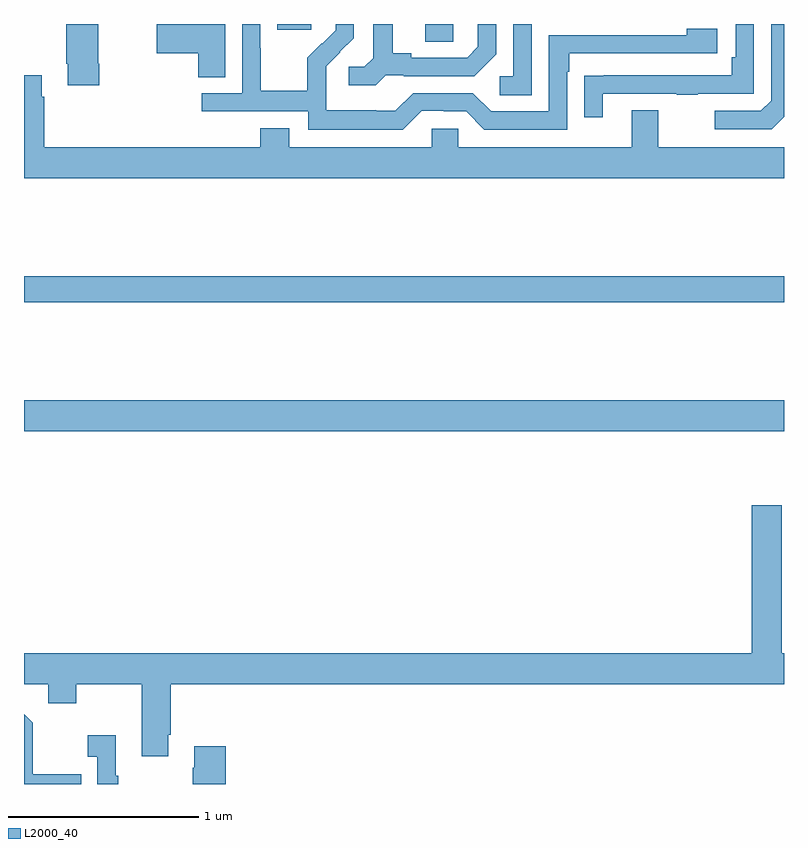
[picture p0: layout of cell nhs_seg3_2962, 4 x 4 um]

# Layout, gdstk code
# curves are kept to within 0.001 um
import gdstk
lib = gdstk.Library(unit=1e-6, precision=1e-09)
def R(c, l, rs):  # rectangles x0, y0, x1, y1
    for r in rs: c.add(gdstk.rectangle(r[:2], r[2:], *l))
def P(c, l, *ps):  # polygons
    for p in ps: c.add(gdstk.Polygon(p, *l))
L2000_40 = (2000, 40)

nhs_seg3_2962 = lib.new_cell('nhs_seg3_2962')
R(nhs_seg3_2962, L2000_40, [(265,694.256,269,694.42), (265,694.936,269,695.072), (267.113,696.307,267.258,696.4), (266.333,696.369,266.512,696.4)])
P(nhs_seg3_2962, L2000_40, [(266.059,696.4),(265.698,696.4),(265.698,696.245),(265.916,696.245),(265.916,696.121),(266.059,696.121)],
  [(269,695.912),(269,696.4),(268.932,696.4),(268.932,695.997),(268.878,695.943),(268.635,695.943),(268.635,695.847),(268.935,695.847)],
  [(265.397,696.19),(265.392,696.19),(265.392,696.4),(265.222,696.4),(265.222,696.19),(265.229,696.19),(265.229,696.078),(265.397,696.078)],
  [(267.093,695.943),(267.209,695.943),(267.209,695.94),(267.327,695.94),(267.423,695.844),(267.858,695.844),(267.858,696.149),(267.871,696.149),(267.871,696.246),(268.648,696.246),(268.648,696.376),(268.487,696.376),(268.487,696.342),(267.762,696.342),(267.762,695.94),(267.459,695.94),(267.363,696.036),(267.048,696.036),(266.955,695.943),(266.855,695.943),(266.855,695.947),(266.592,695.947),(266.592,696.081),(266.59,696.081),(266.59,696.178),(266.736,696.326),(266.736,696.4),(266.642,696.4),(266.642,696.368),(266.571,696.297),(266.568,696.3),(266.491,696.223),(266.491,696.049),(266.247,696.049),(266.247,696.272),(266.244,696.272),(266.244,696.4),(266.148,696.4),(266.148,696.036),(265.935,696.036),(265.935,695.94),(266.496,695.94),(266.496,695.843),(266.993,695.843)],
  [(267.672,696.4),(267.576,696.4),(267.576,696.126),(267.504,696.126),(267.504,696.025),(267.672,696.025)],
  [(268.045,696.033),(268.435,696.033),(268.435,696.028),(268.547,696.028),(268.547,696.033),(268.842,696.033),(268.842,696.4),(268.746,696.4),(268.746,696.226),(268.726,696.226),(268.726,696.129),(268.051,696.129),(268.051,696.128),(267.949,696.128),(267.949,695.91),(268.045,695.91)],
  [(266.904,696.129),(266.998,696.129),(266.998,696.126),(267.37,696.126),(267.486,696.242),(267.486,696.4),(267.389,696.4),(267.389,696.279),(267.332,696.222),(267.037,696.222),(267.037,696.245),(266.941,696.245),(266.941,696.4),(266.837,696.4),(266.837,696.221),(266.79,696.174),(266.709,696.174),(266.709,696.077),(266.852,696.077)],
  [(269,695.752),(268.339,695.752),(268.339,695.947),(268.199,695.947),(268.199,695.752),(267.285,695.752),(267.285,695.85),(267.147,695.85),(267.147,695.752),(266.395,695.752),(266.395,695.851),(266.243,695.851),(266.243,695.752),(265.106,695.752),(265.106,696.017),(265.093,696.017),(265.093,696.13),(265,696.13),(265,695.588),(269,695.588)],
  [(265.759,692.659),(265.772,692.659),(265.772,692.924),(269,692.924),(269,693.088),(268.989,693.088),(268.989,693.868),(268.829,693.868),(268.829,693.088),(265,693.088),(265,692.924),(265.127,692.924),(265.127,692.825),(265.275,692.825),(265.275,692.924),(265.619,692.924),(265.619,692.547),(265.759,692.547)],
  [(265.301,692.451),(265.045,692.451),(265.045,692.723),(265,692.768),(265,692.4),(265.301,692.4)],
  [(265.495,692.443),(265.483,692.443),(265.483,692.656),(265.335,692.656),(265.335,692.543),(265.386,692.543),(265.386,692.4),(265.495,692.4)],
  [(266.063,692.599),(265.895,692.599),(265.895,692.486),(265.888,692.486),(265.888,692.4),(266.063,692.4)])

lib.write_gds('nhs_seg3_2962.gds')
